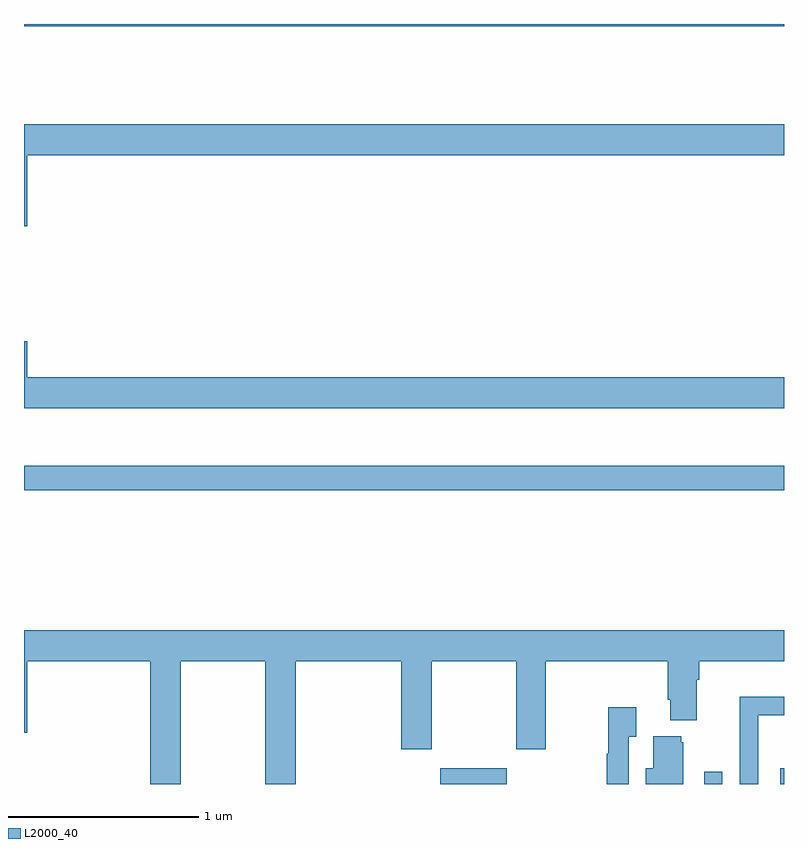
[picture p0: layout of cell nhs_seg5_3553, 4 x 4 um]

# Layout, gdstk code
import gdstk
lib = gdstk.Library(unit=1e-6, precision=1e-09)
def R(c, l, rs):  # rectangles x0, y0, x1, y1
    for r in rs: c.add(gdstk.rectangle(r[:2], r[2:], *l))
def P(c, l, *ps):  # polygons
    for p in ps: c.add(gdstk.Polygon(p, *l))
L2000_40 = (2000, 40)

nhs_seg5_3553 = lib.new_cell('nhs_seg5_3553')
R(nhs_seg5_3553, L2000_40, [(323.192,838.799,323.542,838.882), (324.579,838.799,324.675,838.864), (324.98,838.799,325,838.882), (321,840.346,325,840.475), (321,842.788,325,842.799)])
P(nhs_seg5_3553, L2000_40, [(321.016,842.108),(325,842.108),(325,842.272),(321,842.272),(321,841.734),(321.016,841.734)],
  [(325,840.94),(321.016,840.94),(321.016,841.129),(321,841.129),(321,840.776),(325,840.776)],
  [(321,839.07),(321.016,839.07),(321.016,839.444),(321.665,839.444),(321.665,838.799),(321.825,838.799),(321.825,839.444),(322.27,839.444),(322.27,838.799),(322.43,838.799),(322.43,839.444),(322.985,839.444),(322.985,838.983),(323.145,838.983),(323.145,839.444),(323.59,839.444),(323.59,838.983),(323.745,838.983),(323.745,839.444),(324.389,839.444),(324.389,839.242),(324.401,839.242),(324.401,839.135),(324.541,839.135),(324.541,839.348),(324.554,839.348),(324.554,839.444),(325,839.444),(325,839.608),(321,839.608)],
  [(324.864,839.16),(325,839.16),(325,839.258),(324.766,839.258),(324.766,838.951),(324.768,838.951),(324.768,838.799),(324.864,838.799)],
  [(324.183,839.047),(324.223,839.047),(324.223,839.203),(324.075,839.203),(324.075,838.958),(324.067,838.958),(324.067,838.799),(324.183,838.799)],
  [(324.469,839.019),(324.458,839.019),(324.458,839.05),(324.311,839.05),(324.311,838.882),(324.272,838.882),(324.272,838.799),(324.469,838.799)])

lib.write_gds('nhs_seg5_3553.gds')
